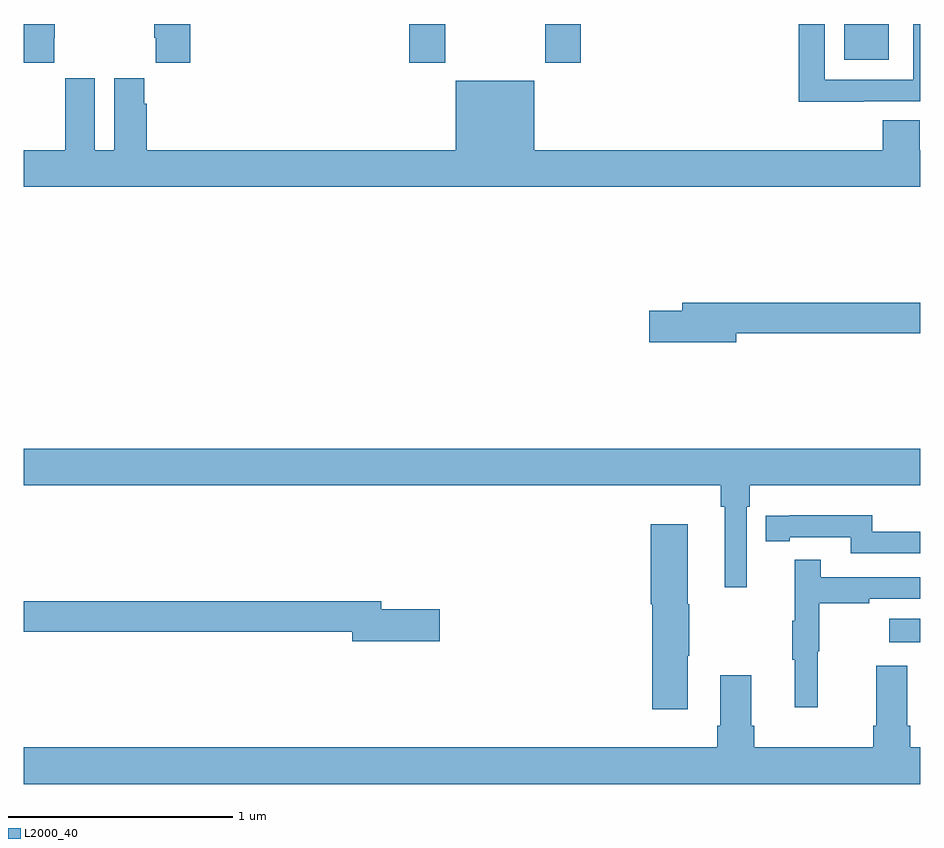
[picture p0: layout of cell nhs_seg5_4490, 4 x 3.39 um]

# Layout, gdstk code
import gdstk
lib = gdstk.Library(unit=1e-6, precision=1e-09)
def R(c, l, rs):  # rectangles x0, y0, x1, y1
    for r in rs: c.add(gdstk.rectangle(r[:2], r[2:], *l))
def P(c, l, *ps):  # polygons
    for p in ps: c.add(gdstk.Polygon(p, *l))
L2000_40 = (2000, 40)

nhs_seg5_4490 = lib.new_cell('nhs_seg5_4490')
R(nhs_seg5_4490, L2000_40, [(378.861,876.041,379,876.145), (376.721,878.625,376.881,878.799), (377.326,878.625,377.486,878.799), (378.662,878.639,378.859,878.799)])
P(nhs_seg5_4490, L2000_40, [(378.749,878.454),(379,878.454),(379,878.799),(378.969,878.799),(378.969,878.55),(378.573,878.55),(378.573,878.799),(378.457,878.799),(378.457,878.453),(378.749,878.453)],
  [(375.135,878.737),(375.138,878.737),(375.138,878.799),(375,878.799),(375,878.625),(375.135,878.625)],
  [(375.583,878.737),(375.589,878.737),(375.589,878.625),(375.743,878.625),(375.743,878.799),(375.583,878.799)],
  [(375.404,878.557),(375.404,878.236),(375.316,878.236),(375.316,878.557),(375.186,878.557),(375.186,878.444),(375.185,878.444),(375.185,878.236),(375,878.236),(375,878.072),(379,878.072),(379,878.236),(378.998,878.236),(378.998,878.369),(378.833,878.369),(378.833,878.236),(377.278,878.236),(377.278,878.545),(376.928,878.545),(376.928,878.236),(375.548,878.236),(375.548,878.444),(375.538,878.444),(375.538,878.557)],
  [(378.178,877.42),(379,877.42),(379,877.556),(377.939,877.556),(377.939,877.52),(377.79,877.52),(377.79,877.378),(378.178,877.378)],
  [(378.225,876.644),(378.239,876.644),(378.239,876.74),(379,876.74),(379,876.904),(375,876.904),(375,876.74),(378.109,876.74),(378.109,876.644),(378.128,876.644),(378.128,876.285),(378.225,876.285)],
  [(379,876.534),(378.786,876.534),(378.786,876.607),(378.418,876.607),(378.418,876.606),(378.31,876.606),(378.31,876.49),(378.418,876.49),(378.418,876.51),(378.69,876.51),(378.69,876.438),(379,876.438)],
  [(377.962,875.98),(377.97,875.98),(377.97,876.21),(377.962,876.21),(377.962,876.568),(377.798,876.568),(377.798,876.21),(377.804,876.21),(377.804,875.742),(377.962,875.742)],
  [(378.542,876),(378.55,876),(378.55,876.214),(378.773,876.214),(378.773,876.234),(379,876.234),(379,876.33),(378.557,876.33),(378.557,876.409),(378.44,876.409),(378.44,876.137),(378.429,876.137),(378.429,875.963),(378.44,875.963),(378.44,875.751),(378.542,875.751)],
  [(376.855,876.188),(376.594,876.188),(376.594,876.224),(375,876.224),(375,876.088),(376.466,876.088),(376.466,876.046),(376.855,876.046)],
  [(379,875.572),(378.956,875.572),(378.956,875.668),(378.943,875.668),(378.943,875.935),(378.803,875.935),(378.803,875.668),(378.791,875.668),(378.791,875.572),(378.26,875.572),(378.26,875.668),(378.247,875.668),(378.247,875.893),(378.107,875.893),(378.107,875.668),(378.095,875.668),(378.095,875.572),(375,875.572),(375,875.408),(379,875.408)])

lib.write_gds('nhs_seg5_4490.gds')
